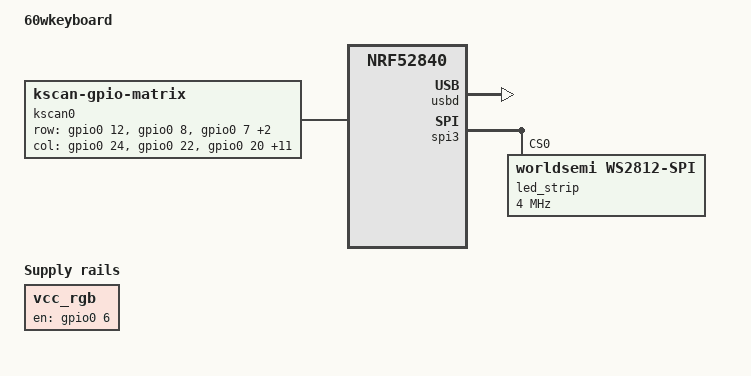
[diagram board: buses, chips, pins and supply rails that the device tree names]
/dts-v1/;
#include <nordic/nrf52840_qiaa.dtsi>
#include <dt-bindings/zmk/matrix_transform.h>
#include <dt-bindings/led/led.h>
#include "60wkeyboard-pinctrl.dtsi"

/ {
    model = "60wkeyboard";
    compatible = "zmk,60wkeyboard"; // Fixed naming convention

    chosen {
        zmk,kscan = &kscan0;
        zmk,keymap = &keymap0;
        zmk,underglow = &led_strip;
    };

    keymap0: keymap {
        compatible = "zmk,keymap";
    };

    kscan0: kscan {
        compatible = "zmk,kscan-gpio-matrix";
        diode-direction = "col2row";

        row-gpios
            = <&gpio0 12 (GPIO_ACTIVE_HIGH | GPIO_PULL_DOWN)>,
              <&gpio0  8 (GPIO_ACTIVE_HIGH | GPIO_PULL_DOWN)>,
              <&gpio0  7 (GPIO_ACTIVE_HIGH | GPIO_PULL_DOWN)>,
              <&gpio1  9 (GPIO_ACTIVE_HIGH | GPIO_PULL_DOWN)>,
              <&gpio0 11 (GPIO_ACTIVE_HIGH | GPIO_PULL_DOWN)>;

        col-gpios
            = <&gpio0 24 GPIO_ACTIVE_HIGH>,
              <&gpio0 22 GPIO_ACTIVE_HIGH>,
              <&gpio0 20 GPIO_ACTIVE_HIGH>,
              <&gpio0 17 GPIO_ACTIVE_HIGH>,
              <&gpio0 15 GPIO_ACTIVE_HIGH>,
              <&gpio0 14 GPIO_ACTIVE_HIGH>,
              <&gpio0 25 GPIO_ACTIVE_HIGH>,
              <&gpio0 13 GPIO_ACTIVE_HIGH>,
              <&gpio0 16 GPIO_ACTIVE_HIGH>,
              <&gpio0 19 GPIO_ACTIVE_HIGH>,
              <&gpio0 21 GPIO_ACTIVE_HIGH>,
              <&gpio0 23 GPIO_ACTIVE_HIGH>,
              <&gpio0 10 GPIO_ACTIVE_HIGH>,
              <&gpio1  0 GPIO_ACTIVE_HIGH>;
    };

    vcc_rgb: vcc_rgb_en {
        compatible = "regulator-fixed";
        regulator-name = "vcc_rgb_en";
        enable-gpios = <&gpio0 6 GPIO_ACTIVE_HIGH>; 
        regulator-always-on;
    };
};

&gpio0 {
    status = "okay";
};

&gpio1 {
    status = "okay";
};

&usbd {
    status = "okay";
    cdc_acm_uart: cdc_acm_uart {
        compatible = "zephyr,cdc-acm-uart";
    };
};

&spi3 {
    compatible = "nordic,nrf-spim";
    status = "okay";
    pinctrl-0 = <&spi3_default>;
    pinctrl-1 = <&spi3_sleep>;
    pinctrl-names = "default", "sleep";

    led_strip: ws2812@0 {
        compatible = "worldsemi,ws2812-spi";
        reg = <0>;
        spi-max-frequency = <4000000>;
        chain-length = <61>; 
        spi-one-frame = <0x70>;
        spi-zero-frame = <0x40>;
        color-mapping = <LED_COLOR_ID_GREEN>,
                        <LED_COLOR_ID_RED>,
                        <LED_COLOR_ID_BLUE>;
    };
};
